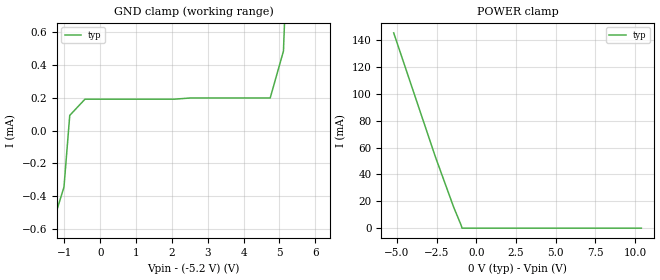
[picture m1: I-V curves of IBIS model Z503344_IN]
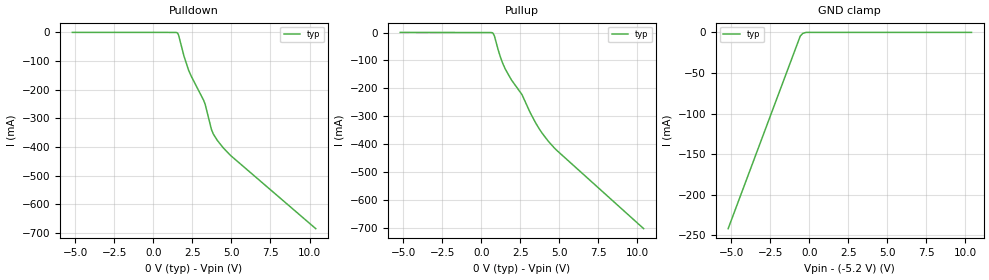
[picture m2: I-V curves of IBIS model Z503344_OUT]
| YOU ARE ONLY AUTHORIZED TO USE THIS SOFTWARE
| ACCORDING TO LICENSOR'S LICENSE RESTRICTIONS.
[IBIS Ver] 3.1
[File Name] mc10116l.ibs
[File Rev] 2.0
[Source] Measured and created by ICX Technology
[Date] Friday 7/14/00 9:07:46 AM
[Copyright]
| (C) COPYRIGHT 1993-2000
| MENTOR GRAPHICS CORPORATION
| ICX STANDARD LIBRARY, ICX PROJECT MODELING,
| ICX CUSTOM MODELING, ICX VENDOR MODEL
| ALL RIGHTS RESERVED.
| THE FOLLOWING ARE TRADEMARKS OR SERVICE MARKS OF
| MENTOR GRAPHICS CORPORATION:ICX (R), ICX STANDARD
| LIBRARY(R), ICX PROJECT MODELING(R), ICX CUSTOM
| MODELING(R), qualityIBIS(TM), MODELVIEWER(TM),
| AND MODELEDITOR(TM)
| ALL COPIES OF SOFTWARE, INCLUDING BUT NOT LIMITED TO
| ANY MODIFICATIONS, ENHANCEMENTS OR DERIVATIVE WORKS,
| MUST CONTAIN ALL MENTOR GRAPHICS CORPORATION'S
| NOTICES AND LEGENDS, INCLUDING THOSE EMBEDDED IN
| SOFTWARE AND THOSE AFFIXED TO SOFTWARE MEDIUM
| AND CONTAINER, AS RECEIVED FROM MENTOR GRAPHICS
| CORPORATION.
|  ZAP Model Builder 2.7
[Component] MC10116L
[Manufacturer] OnSemiconductor
[Package]
| variable   typ   min   max
R_pkg  .212ohms NA NA
L_pkg  4.758nH NA NA
C_pkg  1.944pF NA NA
[Pin] signal_name  model_name  R_pin  L_pin C_pin
1 VCC1 POWER .224 7.258n 2.683p
2 _AOUT Z503344_OUT .216 5.258n 2.19p
3 AOUT Z503344_OUT .208 3.758n 1.697p
4 _AIN Z503344_IN .2 2.758n 1.204p
5 AIN Z503344_IN .2 2.758n 1.204p
6 _BOUT Z503344_OUT .208 3.758n 1.697p
7 BOUT Z503344_OUT .216 5.258n 2.19p
8 VEE POWER .224 7.258n 2.683p
9 _BIN Z503344_IN .224 7.258n 2.683p
10 BIN Z503344_IN .216 5.258n 2.19p
11 VBB POWER .208 3.758n 1.697p
12 _CIN Z503344_IN .2 2.758n 1.204p
13 CIN Z503344_IN .2 2.758n 1.204p
14 _COUT Z503344_OUT .208 3.758n 1.697p
15 COUT Z503344_OUT .216 5.258n 2.19p
16 VCC2 POWER .224 7.258n 2.683p
| Models and submodels in the file (2): Z503344_IN (Input_ECL), Z503344_OUT (Output_ECL)
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| (C) COPYRIGHT 1993-2000
| MENTOR GRAPHICS CORPORATION
| ICX STANDARD LIBRARY, ICX PROJECT MODELING,
| ICX CUSTOM MODELING, ICX VENDOR MODEL
| ALL RIGHTS RESERVED.
| THE FOLLOWING ARE TRADEMARKS OR SERVICE MARKS OF
| MENTOR GRAPHICS CORPORATION:ICX (R), ICX STANDARD
| LIBRARY(R), ICX PROJECT MODELING(R), ICX CUSTOM
| MODELING(R), qualityIBIS(TM), MODELVIEWER(TM),
| AND MODELEDITOR(TM)
| ALL COPIES OF SOFTWARE, INCLUDING BUT NOT LIMITED TO
| ANY MODIFICATIONS, ENHANCEMENTS OR DERIVATIVE WORKS,
| MUST CONTAIN ALL MENTOR GRAPHICS CORPORATION'S
| NOTICES AND LEGENDS, INCLUDING THOSE EMBEDDED IN
| SOFTWARE AND THOSE AFFIXED TO SOFTWARE MEDIUM
| AND CONTAINER, AS RECEIVED FROM MENTOR GRAPHICS
| CORPORATION.
| Model Application Version 1.89 2/18/99.
[Model] Z503344_IN
Model_type Input_ECL
Vinl = -1.475V
Vinh = -1.105V
C_comp 4.000pF NA NA
| variable typ   min   max
[Voltage Range] -5.200V NA NA
[GND Clamp Reference] -5.200V NA NA
[POWER Clamp Reference] 0.000V NA NA
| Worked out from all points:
|   POWER clamp passes 1 mA (typ) near -0.92 V on its own axis
[GND Clamp]
-5.2V     -12.64mA   NA         NA
-1.328V   -571.3uA   NA         NA
-1.011V   -344.8uA   NA         NA
-850mV    92.45uA    NA         NA
-425mV    191.2uA    NA         NA
2.055V    191.2uA    NA         NA
2.519V    198.7uA    NA         NA
4.742V    198.7uA    NA         NA
5.112V    484.8uA    NA         NA
10.4V     31.33mA    NA         NA
[POWER Clamp]
-5.2V     145.3mA    NA         NA
-2.57V    52.92mA    NA         NA
-1.421V   15.58mA    NA         NA
-959.3mV  2.386mA    NA         NA
-895.3mV  0A         NA         NA
10.4V     0A         NA         NA
| (C) COPYRIGHT 1993-2000
| MENTOR GRAPHICS CORPORATION
| ICX STANDARD LIBRARY, ICX PROJECT MODELING,
| ICX CUSTOM MODELING, ICX VENDOR MODEL
| ALL RIGHTS RESERVED.
| THE FOLLOWING ARE TRADEMARKS OR SERVICE MARKS OF
| MENTOR GRAPHICS CORPORATION:ICX (R), ICX STANDARD
| LIBRARY(R), ICX PROJECT MODELING(R), ICX CUSTOM
| MODELING(R), qualityIBIS(TM), MODELVIEWER(TM),
| AND MODELEDITOR(TM)
| ALL COPIES OF SOFTWARE, INCLUDING BUT NOT LIMITED TO
| ANY MODIFICATIONS, ENHANCEMENTS OR DERIVATIVE WORKS,
| MUST CONTAIN ALL MENTOR GRAPHICS CORPORATION'S
| NOTICES AND LEGENDS, INCLUDING THOSE EMBEDDED IN
| SOFTWARE AND THOSE AFFIXED TO SOFTWARE MEDIUM
| AND CONTAINER, AS RECEIVED FROM MENTOR GRAPHICS
| CORPORATION.
| Model Application Version 1.89 2/18/99.
[Model] Z503344_OUT
Model_type Output_ECL
Vref=-2.000V
Rref=50.00ohms
Cref=0.000F
Vmeas=-1.290V
C_comp 8.000pF NA NA
| variable typ   min   max
[Voltage Range] -5.200V NA NA
[POWER Clamp Reference] 0.000V NA NA
[Pullup Reference] 0.000V NA NA
[Pulldown Reference] 0.000V NA NA
[GND Clamp Reference] -5.200V NA NA
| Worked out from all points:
|   GND clamp passes 1 mA (typ) near -0.39 V on its own axis
[GND Clamp]
-5.2V     -241.8mA   NA         NA
-581mV    -4.591mA   NA         NA
-413mV    -1.149mA   NA         NA
-206.5mV  0A         NA         NA
10.4V     0A         NA         NA
[Pulldown]
-5.2V     100uA      NA         NA
1.523V    -1.352mA   NA         NA
1.616V    -10.63mA   NA         NA
1.953V    -82.16mA   NA         NA
2.257V    -132.6mA   NA         NA
3.208V    -235.9mA   NA         NA
3.311V    -249.9mA   NA         NA
3.711V    -337.5mA   NA         NA
3.834V    -354.2mA   NA         NA
4.089V    -376.3mA   NA         NA
4.932V    -428.7mA   NA         NA
10.4V     -684.4mA   NA         NA
[Pullup]
-5.2V     587.3uA    NA         NA
728.1mV   -1.125mA   NA         NA
835mV     -12.02mA   NA         NA
1.226V    -89.21mA   NA         NA
1.524V    -130.2mA   NA         NA
1.92V     -169.4mA   NA         NA
2.603V    -222.7mA   NA         NA
3.127V    -287.3mA   NA         NA
3.486V    -325mA     NA         NA
4.275V    -389mA     NA         NA
4.873V    -424.8mA   NA         NA
10.4V     -703.7mA   NA         NA
[POWER Clamp]
-5.2V     0A         NA         NA
10.4V     0A         NA         NA
[Ramp]
| variable typ min max
dV/dt_r 459.5m/3.695n NA NA
dV/dt_f 459.5m/1.065n NA NA
R_load = 500.0Ohms
